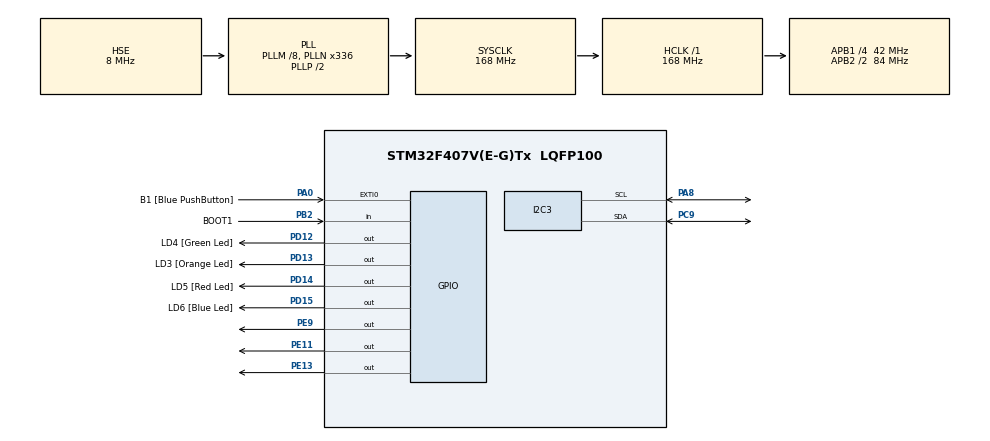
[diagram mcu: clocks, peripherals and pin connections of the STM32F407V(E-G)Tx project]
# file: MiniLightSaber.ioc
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Mcu.Family=STM32F4
Mcu.Name=STM32F407V(E-G)Tx
Mcu.Package=LQFP100
NVIC.PriorityGroup=NVIC_PRIORITYGROUP_0
PA0-WKUP.GPIO_Label=B1 [Blue PushButton]
PA0-WKUP.GPIO_ModeDefaultEXTI=GPIO_MODE_EVT_RISING
PA0-WKUP.GPIO_PuPd=GPIO_NOPULL
PA0-WKUP.Signal=GPXTI0
PA8.Mode=I2C
PA8.Signal=I2C3_SCL
PB2.GPIO_Label=BOOT1
PB2.GPIO_Mode=GPIO_MODE_INPUT
PB2.GPIO_PuPd=GPIO_NOPULL
PB2.Signal=GPIO_Input
PC14-OSC32_IN.GPIO_Label=PC14-OSC32_IN
PC14-OSC32_IN.Mode=LSE-External-Oscillator
PC14-OSC32_IN.Signal=RCC_OSC32_IN
PC15-OSC32_OUT.GPIO_Label=PC15-OSC32_OUT
PC15-OSC32_OUT.Mode=LSE-External-Oscillator
PC15-OSC32_OUT.Signal=RCC_OSC32_OUT
PC9.Mode=I2C
PC9.Signal=I2C3_SDA
PD12.GPIO_Label=LD4 [Green Led]
PD12.GPIO_PuPd=GPIO_NOPULL
PD12.GPIO_Speed=GPIO_SPEED_FREQ_LOW
PD12.Signal=GPIO_Output
PD13.GPIO_Label=LD3 [Orange Led]
PD13.GPIO_PuPd=GPIO_NOPULL
PD13.GPIO_Speed=GPIO_SPEED_FREQ_LOW
PD13.Signal=GPIO_Output
PD14.GPIO_Label=LD5 [Red Led]
PD14.GPIO_PuPd=GPIO_NOPULL
PD14.GPIO_Speed=GPIO_SPEED_FREQ_LOW
PD14.Signal=GPIO_Output
PD15.GPIO_Label=LD6 [Blue Led]
PD15.GPIO_PuPd=GPIO_NOPULL
PD15.GPIO_Speed=GPIO_SPEED_FREQ_LOW
PD15.Signal=GPIO_Output
PE11.Signal=GPIO_Output
PE13.Signal=GPIO_Output
PE9.Signal=GPIO_Output
PH0-OSC_IN.GPIO_Label=PH0-OSC_IN
PH0-OSC_IN.Mode=HSE-External-Oscillator
PH0-OSC_IN.Signal=RCC_OSC_IN
PH1-OSC_OUT.GPIO_Label=PH1-OSC_OUT
PH1-OSC_OUT.Mode=HSE-External-Oscillator
PH1-OSC_OUT.Signal=RCC_OSC_OUT
ProjectManager.HeapSize=0x200
ProjectManager.StackSize=0x400
ProjectManager.TargetToolchain=STM32CubeIDE
RCC.48MHZClocksFreq_Value=48000000
RCC.AHBFreq_Value=168000000
RCC.APB1CLKDivider=RCC_HCLK_DIV4
RCC.APB1Freq_Value=42000000
RCC.APB1TimFreq_Value=84000000
RCC.APB2CLKDivider=RCC_HCLK_DIV2
RCC.APB2Freq_Value=84000000
RCC.APB2TimFreq_Value=168000000
RCC.CortexFreq_Value=168000000
RCC.HCLKFreq_Value=168000000
RCC.HSE_VALUE=8000000
RCC.HSI_VALUE=16000000
RCC.PLLM=8
RCC.PLLN=336
RCC.PLLQ=7
RCC.PLLSourceVirtual=RCC_PLLSOURCE_HSE
RCC.SYSCLKFreq_VALUE=168000000
RCC.SYSCLKSource=RCC_SYSCLKSOURCE_PLLCLK
RCC.VCOOutputFreq_Value=336000000
board=STM32F407G-DISC1

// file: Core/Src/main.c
/* USER CODE BEGIN Header */
/**
  ******************************************************************************
  * @file           : main.c
  * @brief          : Main program body
  ******************************************************************************
  * @attention
  *
  * Copyright (c) 2023 STMicroelectronics.
  * All rights reserved.
  *
  * This software is licensed under terms that can be found in the LICENSE file
  * in the root directory of this software component.
  * If no LICENSE file comes with this software, it is provided AS-IS.
  *
  ******************************************************************************
  */
/* USER CODE END Header */
#include "main.h"

/* USER CODE BEGIN Includes */
#include "TJ_MPU6050.h"
/* USER CODE END Includes */

/* USER CODE BEGIN PD */
#define RLED GPIO_PIN_9
#define GLED GPIO_PIN_11
#define BLED GPIO_PIN_13

/* USER CODE END PD */

I2C_HandleTypeDef hi2c3;

void SystemClock_Config(void);
static void MX_GPIO_Init(void);
static void MX_I2C3_Init(void);

/* USER CODE BEGIN 0 */
RawData_Def gMyAccelRaw, gMyGyroRaw;
ScaledData_Def gMyAccelScaled, gMyGyroScaled;

/* USER CODE END 0 */

int main(void)
{
  /* USER CODE BEGIN 1 */
	MPU_ConfigTypeDef myMpuConfig; //instantiating that type of variable
  /* USER CODE END 1 */

  /* MCU Configuration--------------------------------------------------------*/

  /* Reset of all peripherals, Initializes the Flash interface and the Systick. */
  HAL_Init();

  /* Configure the system clock */
  SystemClock_Config();

  /* Initialize all configured peripherals */
  MX_GPIO_Init();
  MX_I2C3_Init();
  /* USER CODE BEGIN 2 */
  	int accelCount = 0;
  	int gyroCount = 0;
  //initialize IMU and I2C
    MPU6050_Init(&hi2c3);
  //Configure accelerometer and gyro parameters
    myMpuConfig.Accel_Full_Scale = AFS_SEL_4g;//on the more precise end available
    myMpuConfig.ClockSource = Internal_8MHz;
    myMpuConfig.CONFIG_DLPF = DLPF_184A_188G_Hz; //adjust depending on looking for fast or slow signal
    myMpuConfig.Gyro_Full_Scale = FS_SEL_500;
    myMpuConfig.Sleep_Mode_Bit = 0;
    MPU6050_Config(&myMpuConfig);

  /* USER CODE END 2 */

  /* Infinite loop */
  while (1)
  {

    /* USER CODE BEGIN 3 */
    //get scaled data
    MPU6050_Get_Accel_Scale(&gMyAccelScaled);
    MPU6050_Get_Gyro_Scale(&gMyGyroScaled);

    if((gMyAccelScaled.x > 2000) || (gMyAccelScaled.y > 2000) || (gMyAccelScaled.z > 2000)){
    	if(accelCount%3 == 0){
    		//HAL_GPIO_TogglePin(GPIOE, RLED);
    		HAL_GPIO_WritePin(GPIOE, RLED, GPIO_PIN_SET);
    		HAL_GPIO_WritePin(GPIOE, GLED, GPIO_PIN_RESET);
    		HAL_GPIO_WritePin(GPIOE, BLED, GPIO_PIN_RESET);
    	}
    	else if(accelCount%3 == 1){
    		//HAL_GPIO_TogglePin(GPIOE, GLED);
    		HAL_GPIO_WritePin(GPIOE, RLED, GPIO_PIN_RESET);
			HAL_GPIO_WritePin(GPIOE, GLED, GPIO_PIN_SET);
			HAL_GPIO_WritePin(GPIOE, BLED, GPIO_PIN_RESET);
    	}
    	else{
    		//HAL_GPIO_TogglePin(GPIOE, BLED);
    		HAL_GPIO_WritePin(GPIOE, RLED, GPIO_PIN_RESET);
			HAL_GPIO_WritePin(GPIOE, GLED, GPIO_PIN_RESET);
			HAL_GPIO_WritePin(GPIOE, BLED, GPIO_PIN_SET);
    	}
    	accelCount++;
    	HAL_Delay(500);
    }
    //max gyro values seem to be 500
    else if((gMyGyroScaled.x > 450) || (gMyGyroScaled.y > 450) ||(gMyGyroScaled.z > 450)){
    	if(gyroCount%2 == 0){
    		HAL_GPIO_WritePin(GPIOE, RLED, GPIO_PIN_SET);
			HAL_GPIO_WritePin(GPIOE, GLED, GPIO_PIN_SET);
			HAL_GPIO_WritePin(GPIOE, BLED, GPIO_PIN_SET);
    	}
    	else{
    		HAL_GPIO_WritePin(GPIOE, RLED, GPIO_PIN_RESET);
			HAL_GPIO_WritePin(GPIOE, GLED, GPIO_PIN_RESET);
			HAL_GPIO_WritePin(GPIOE, BLED, GPIO_PIN_RESET);
    	}
    	gyroCount++;
    	HAL_Delay(500);
    }

    HAL_Delay(50);
  }
  /* USER CODE END 3 */
}

void SystemClock_Config(void)
{
  RCC_OscInitTypeDef RCC_OscInitStruct = {0};
  RCC_ClkInitTypeDef RCC_ClkInitStruct = {0};

  /** Configure the main internal regulator output voltage
  */
  __HAL_RCC_PWR_CLK_ENABLE();
  __HAL_PWR_VOLTAGESCALING_CONFIG(PWR_REGULATOR_VOLTAGE_SCALE1);

  /** Initializes the RCC Oscillators according to the specified parameters
  * in the RCC_OscInitTypeDef structure.
  */
  RCC_OscInitStruct.OscillatorType = RCC_OSCILLATORTYPE_HSE;
  RCC_OscInitStruct.HSEState = RCC_HSE_ON;
  RCC_OscInitStruct.PLL.PLLState = RCC_PLL_ON;
  RCC_OscInitStruct.PLL.PLLSource = RCC_PLLSOURCE_HSE;
  RCC_OscInitStruct.PLL.PLLM = 8;
  RCC_OscInitStruct.PLL.PLLN = 336;
  RCC_OscInitStruct.PLL.PLLP = RCC_PLLP_DIV2;
  RCC_OscInitStruct.PLL.PLLQ = 7;
  if (HAL_RCC_OscConfig(&RCC_OscInitStruct) != HAL_OK)
  {
    Error_Handler();
  }

  /** Initializes the CPU, AHB and APB buses clocks
  */
  RCC_ClkInitStruct.ClockType = RCC_CLOCKTYPE_HCLK|RCC_CLOCKTYPE_SYSCLK
                              |RCC_CLOCKTYPE_PCLK1|RCC_CLOCKTYPE_PCLK2;
  RCC_ClkInitStruct.SYSCLKSource = RCC_SYSCLKSOURCE_PLLCLK;
  RCC_ClkInitStruct.AHBCLKDivider = RCC_SYSCLK_DIV1;
  RCC_ClkInitStruct.APB1CLKDivider = RCC_HCLK_DIV4;
  RCC_ClkInitStruct.APB2CLKDivider = RCC_HCLK_DIV2;

  if (HAL_RCC_ClockConfig(&RCC_ClkInitStruct, FLASH_LATENCY_5) != HAL_OK)
  {
    Error_Handler();
  }
}

static void MX_I2C3_Init(void)
{

  hi2c3.Instance = I2C3;
  hi2c3.Init.ClockSpeed = 100000;
  hi2c3.Init.DutyCycle = I2C_DUTYCYCLE_2;
  hi2c3.Init.OwnAddress1 = 0;
  hi2c3.Init.AddressingMode = I2C_ADDRESSINGMODE_7BIT;
  hi2c3.Init.DualAddressMode = I2C_DUALADDRESS_DISABLE;
  hi2c3.Init.OwnAddress2 = 0;
  hi2c3.Init.GeneralCallMode = I2C_GENERALCALL_DISABLE;
  hi2c3.Init.NoStretchMode = I2C_NOSTRETCH_DISABLE;
  if (HAL_I2C_Init(&hi2c3) != HAL_OK)
  {
    Error_Handler();
  }

}

static void MX_GPIO_Init(void)
{
  GPIO_InitTypeDef GPIO_InitStruct = {0};

  /* GPIO Ports Clock Enable */
  __HAL_RCC_GPIOC_CLK_ENABLE();
  __HAL_RCC_GPIOH_CLK_ENABLE();
  __HAL_RCC_GPIOA_CLK_ENABLE();
  __HAL_RCC_GPIOB_CLK_ENABLE();
  __HAL_RCC_GPIOE_CLK_ENABLE();
  __HAL_RCC_GPIOD_CLK_ENABLE();

  /*Configure GPIO pin Output Level */
  HAL_GPIO_WritePin(GPIOE, GPIO_PIN_9|GPIO_PIN_11|GPIO_PIN_13, GPIO_PIN_RESET);

  /*Configure GPIO pin Output Level */
  HAL_GPIO_WritePin(GPIOD, LD4_Pin|LD3_Pin|LD5_Pin|LD6_Pin, GPIO_PIN_RESET);

  /*Configure GPIO pin : B1_Pin */
  GPIO_InitStruct.Pin = B1_Pin;
  GPIO_InitStruct.Mode = GPIO_MODE_EVT_RISING;
  GPIO_InitStruct.Pull = GPIO_NOPULL;
  HAL_GPIO_Init(B1_GPIO_Port, &GPIO_InitStruct);

  /*Configure GPIO pin : BOOT1_Pin */
  GPIO_InitStruct.Pin = BOOT1_Pin;
  GPIO_InitStruct.Mode = GPIO_MODE_INPUT;
  GPIO_InitStruct.Pull = GPIO_NOPULL;
  HAL_GPIO_Init(BOOT1_GPIO_Port, &GPIO_InitStruct);

  /*Configure GPIO pins : PE9 PE11 PE13 */
  GPIO_InitStruct.Pin = GPIO_PIN_9|GPIO_PIN_11|GPIO_PIN_13;
  GPIO_InitStruct.Mode = GPIO_MODE_OUTPUT_PP;
  GPIO_InitStruct.Pull = GPIO_NOPULL;
  GPIO_InitStruct.Speed = GPIO_SPEED_FREQ_LOW;
  HAL_GPIO_Init(GPIOE, &GPIO_InitStruct);

  /*Configure GPIO pins : LD4_Pin LD3_Pin LD5_Pin LD6_Pin */
  GPIO_InitStruct.Pin = LD4_Pin|LD3_Pin|LD5_Pin|LD6_Pin;
  GPIO_InitStruct.Mode = GPIO_MODE_OUTPUT_PP;
  GPIO_InitStruct.Pull = GPIO_NOPULL;
  GPIO_InitStruct.Speed = GPIO_SPEED_FREQ_LOW;
  HAL_GPIO_Init(GPIOD, &GPIO_InitStruct);

}

void Error_Handler(void)
{
  __disable_irq();
  while (1)
  {
  }
}
